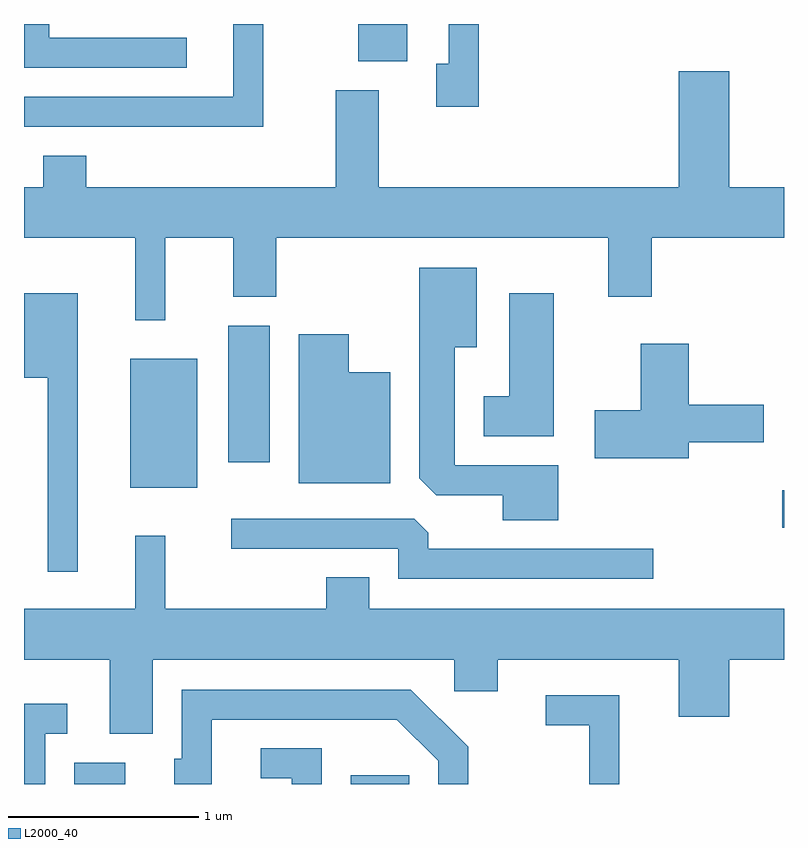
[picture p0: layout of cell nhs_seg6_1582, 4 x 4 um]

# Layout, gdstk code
import gdstk
lib = gdstk.Library(unit=1e-6, precision=1e-09)
def R(c, l, rs):  # rectangles x0, y0, x1, y1
    for r in rs: c.add(gdstk.rectangle(r[:2], r[2:], *l))
def P(c, l, *ps):  # polygons
    for p in ps: c.add(gdstk.Polygon(p, *l))
L2000_40 = (2000, 40)

nhs_seg6_1582 = lib.new_cell('nhs_seg6_1582')
R(nhs_seg6_1582, L2000_40, [(231.876,1658.162,232.144,1658.274), (233.331,1658.162,233.639,1658.209), (235.601,1659.511,235.611,1659.709), (232.171,1659.721,232.524,1660.399), (232.686,1659.856,232.904,1660.574), (233.371,1661.966,233.629,1662.162)])
P(nhs_seg6_1582, L2000_40, [(234.004,1662.162),(233.846,1662.162),(233.846,1661.954),(233.781,1661.954),(233.781,1661.726),(234.004,1661.726)],
  [(232.869,1662.162),(232.711,1662.162),(232.711,1661.779),(231.611,1661.779),(231.611,1661.621),(232.869,1661.621)],
  [(232.468,1662.089),(231.744,1662.089),(231.744,1662.162),(231.611,1662.162),(231.611,1661.931),(232.468,1661.931)],
  [(232.354,1661.036),(232.711,1661.036),(232.711,1660.726),(232.939,1660.726),(232.939,1661.036),(234.686,1661.036),(234.686,1660.726),(234.914,1660.726),(234.914,1661.036),(235.611,1661.036),(235.611,1661.304),(235.324,1661.304),(235.324,1661.914),(235.056,1661.914),(235.056,1661.304),(233.479,1661.304),(233.479,1661.814),(233.251,1661.814),(233.251,1661.304),(231.939,1661.304),(231.939,1661.469),(231.711,1661.469),(231.711,1661.304),(231.611,1661.304),(231.611,1661.036),(232.196,1661.036),(232.196,1660.603),(232.354,1660.603)],
  [(234.424,1659.839),(233.879,1659.839),(233.879,1660.461),(233.994,1660.461),(233.994,1660.879),(233.691,1660.879),(233.691,1659.772),(233.782,1659.681),(234.131,1659.681),(234.131,1659.551),(234.424,1659.551)],
  [(234.399,1660.744),(234.166,1660.744),(234.166,1660.204),(234.031,1660.204),(234.031,1659.991),(234.399,1659.991)],
  [(231.894,1660.744),(231.611,1660.744),(231.611,1660.301),(231.736,1660.301),(231.736,1659.278),(231.894,1659.278)],
  [(233.539,1660.329),(233.319,1660.329),(233.319,1660.529),(233.056,1660.529),(233.056,1659.746),(233.539,1659.746)],
  [(235.109,1659.961),(235.504,1659.961),(235.504,1660.159),(235.109,1660.159),(235.109,1660.479),(234.856,1660.479),(234.856,1660.129),(234.616,1660.129),(234.616,1659.876),(235.109,1659.876)],
  [(234.923,1659.399),(233.739,1659.399),(233.739,1659.484),(233.664,1659.559),(232.703,1659.559),(232.703,1659.401),(233.581,1659.401),(233.581,1659.241),(234.923,1659.241)],
  [(232.289,1658.816),(233.876,1658.816),(233.876,1658.651),(234.104,1658.651),(234.104,1658.816),(235.056,1658.816),(235.056,1658.516),(235.324,1658.516),(235.324,1658.816),(235.611,1658.816),(235.611,1659.084),(233.429,1659.084),(233.429,1659.249),(233.201,1659.249),(233.201,1659.084),(232.354,1659.084),(232.354,1659.468),(232.196,1659.468),(232.196,1659.084),(231.611,1659.084),(231.611,1658.816),(232.061,1658.816),(232.061,1658.426),(232.289,1658.426)],
  [(232.599,1658.501),(233.574,1658.501),(233.791,1658.284),(233.791,1658.162),(233.949,1658.162),(233.949,1658.357),(233.647,1658.659),(232.441,1658.659),(232.441,1658.294),(232.401,1658.294),(232.401,1658.162),(232.599,1658.162)],
  [(234.744,1658.629),(234.358,1658.629),(234.358,1658.471),(234.586,1658.471),(234.586,1658.162),(234.744,1658.162)],
  [(231.724,1658.426),(231.838,1658.426),(231.838,1658.584),(231.611,1658.584),(231.611,1658.162),(231.724,1658.162)],
  [(233.179,1658.349),(232.858,1658.349),(232.858,1658.191),(233.021,1658.191),(233.021,1658.162),(233.179,1658.162)])

lib.write_gds('nhs_seg6_1582.gds')
